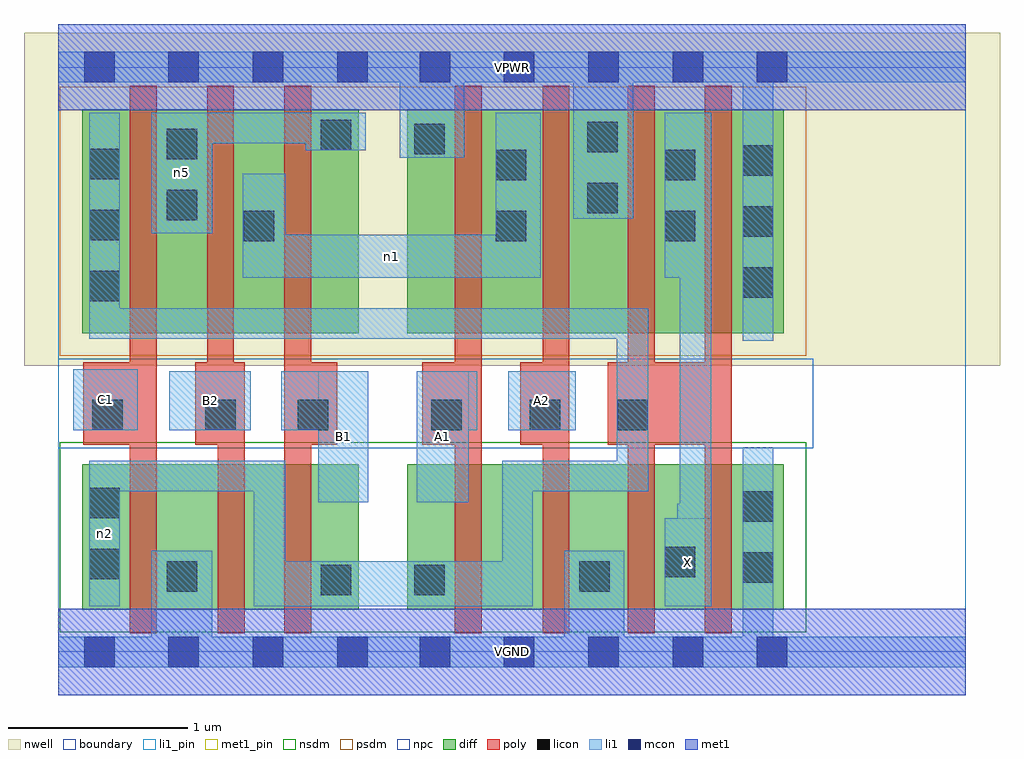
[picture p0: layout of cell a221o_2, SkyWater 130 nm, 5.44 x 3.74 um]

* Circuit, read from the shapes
.subckt a221o_2 A1 A2 B1 B2 C1 VGND VPWR X n1 n2 n5
XM1 VGND C1 n2 VSUBS sky130_fd_pr__nfet_01v8 w=0.81 l=0.15
XM2 n3 B2 VGND VSUBS sky130_fd_pr__nfet_01v8 w=0.81 l=0.15
XM3 n2 B1 n3 VSUBS sky130_fd_pr__nfet_01v8 w=0.81 l=0.15
XM4 n4 A1 n2 VSUBS sky130_fd_pr__nfet_01v8 w=0.81 l=0.15
XM5 VGND A2 n4 VSUBS sky130_fd_pr__nfet_01v8 w=0.81 l=0.15
XM6 X n2 VGND VSUBS sky130_fd_pr__nfet_01v8 w=0.81 l=0.15 m=2
XM7 n5 C1 n2 n6 sky130_fd_pr__pfet_01v8 w=1.25 l=0.15
XM8 n1 B2 n5 n6 sky130_fd_pr__pfet_01v8 w=1.25 l=0.15
XM9 n5 B1 n1 n6 sky130_fd_pr__pfet_01v8 w=1.25 l=0.15
XM10 n1 A1 VPWR n6 sky130_fd_pr__pfet_01v8 w=1.25 l=0.15
XM11 VPWR A2 n1 n6 sky130_fd_pr__pfet_01v8 w=1.25 l=0.15
XM12 X n2 VPWR n6 sky130_fd_pr__pfet_01v8 w=1.25 l=0.15 m=2
.ends

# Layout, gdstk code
import gdstk
lib = gdstk.Library(unit=1e-6, precision=1e-09)
def R(c, l, rs):  # rectangles x0, y0, x1, y1
    for r in rs: c.add(gdstk.rectangle(r[:2], r[2:], *l))
def A(c, l, x, y, w, h, nx, ny, dx, dy):  # array of equal rectangles
    R(c, l, [(x+i*dx, y+j*dy, x+i*dx+w, y+j*dy+h) for i in range(nx) for j in range(ny)])
nwell = (64, 20)
diff = (65, 20)
poly = (66, 20)
licon = (66, 44)
li1_pin = (67, 16)
li1 = (67, 20)
mcon = (67, 44)
met1_pin = (68, 16)
met1 = (68, 20)
nsdm = (93, 44)
psdm = (94, 20)
npc = (95, 20)
boundary = (235, 4)

a221o_2 = lib.new_cell('a221o_2')
R(a221o_2, nwell, [(-0.19,1.595,5.25,3.45), (0,1.595,5.06,3.45)])
R(a221o_2, diff, [(0.135,0.235,1.675,1.045), (1.945,0.235,4.045,1.045), (0.135,1.775,1.675,3.025), (1.945,1.775,4.045,3.025)])
R(a221o_2, poly, [(0.4,0.105,0.55,3.155), (0.89,0.105,1.04,1.615), (1.26,0.105,1.41,3.155), (2.21,0.105,2.36,3.155), (2.7,0.105,2.85,3.155), (3.175,0.105,3.325,3.155), (3.605,0.105,3.755,3.155), (0.14,1.155,0.55,1.615), (0.765,1.155,1.04,1.615), (0.83,1.155,0.98,3.155), (1.26,1.155,1.555,1.615), (2.03,1.155,2.36,1.615), (2.575,1.155,2.85,1.615), (3.065,1.155,3.755,1.615)])
A(a221o_2, licon, 0.175, 1.955, 0.17, 0.17, 1, 3, 0, 0.34)
A(a221o_2, licon, 3.815, 1.975, 0.17, 0.17, 1, 3, 0, 0.34)
R(a221o_2, licon, [(1.465,0.315,1.635,0.485), (1.985,0.315,2.155,0.485), (0.605,0.335,0.775,0.505), (2.905,0.335,3.075,0.505), (3.815,0.385,3.985,0.555), (0.175,0.405,0.345,0.575), (3.38,0.415,3.55,0.585), (3.815,0.725,3.985,0.895), (0.175,0.745,0.345,0.915), (0.19,1.235,0.36,1.405), (0.82,1.235,0.99,1.405), (1.335,1.235,1.505,1.405), (2.08,1.235,2.25,1.405), (2.63,1.235,2.8,1.405), (3.12,1.235,3.29,1.405), (1.035,2.29,1.205,2.46), (2.44,2.29,2.61,2.46), (3.38,2.29,3.55,2.46), (0.605,2.405,0.775,2.575), (2.95,2.445,3.12,2.615), (2.44,2.63,2.61,2.8), (3.38,2.63,3.55,2.8), (0.605,2.745,0.775,2.915), (1.985,2.775,2.155,2.945), (2.95,2.785,3.12,2.955), (1.465,2.795,1.635,2.965)])
R(a221o_2, li1_pin, [(3.38,0.255,3.64,0.745), (1.45,0.835,1.73,1.565), (2,0.835,2.29,1.565), (0.085,1.235,0.445,1.575), (0.62,1.235,1.075,1.565), (2.51,1.235,2.885,1.565)])
R(a221o_2, li1, [(0,-0.085,5.06,0.085), (0.52,-0.085,0.86,0.565), (2.82,-0.085,3.155,0.565), (3.815,-0.085,3.985,1.14), (0.175,0.255,0.345,1.065), (1.09,0.255,2.645,0.505), (1.09,0.255,1.265,1.065), (2.475,0.255,2.645,1.065), (3.38,0.255,3.64,0.745), (3.45,0.255,3.64,0.825), (3.465,0.255,3.64,3.005), (1.45,0.835,1.73,1.565), (2,0.835,2.29,1.565), (0.175,0.895,1.265,1.065), (2.475,0.895,3.29,1.065), (3.115,0.895,3.29,1.915), (0.085,1.235,0.445,1.575), (0.62,1.235,1.075,1.565), (1.245,1.235,1.73,1.565), (2,1.235,2.335,1.565), (2.51,1.235,2.885,1.565), (3.815,1.735,3.985,3.345), (0.175,1.745,3.29,1.915), (0.175,1.745,0.345,3.005), (1.03,2.085,2.69,2.325), (1.03,2.085,1.27,2.665), (2.44,2.085,2.69,3.005), (3.38,2.085,3.64,3.005), (0.52,2.335,0.86,3.005), (2.87,2.415,3.205,3.345), (1.905,2.755,2.265,3.345), (1.38,2.795,1.715,3.005), (0.52,2.835,1.715,3.005), (0,3.175,5.06,3.345)])
A(a221o_2, mcon, 0.145, -0.085, 0.17, 0.17, 4, 2, 0.47, 3.26)
A(a221o_2, mcon, 2.015, -0.085, 0.17, 0.17, 5, 2, 0.47, 3.26)
R(a221o_2, met1_pin, [(0,-0.24,5.06,0.24), (0,3.02,5.06,3.5)])
R(a221o_2, met1, [(0,-0.24,5.06,0.24), (0,3.02,5.06,3.5)])
R(a221o_2, nsdm, [(0.01,0.11,4.17,1.17)])
R(a221o_2, psdm, [(0.01,1.65,4.17,3.15)])
R(a221o_2, npc, [(0,1.135,4.21,1.635)])
R(a221o_2, boundary, [(0,0,5.06,3.26)])
a221o_2.add(gdstk.Label('A1', (2.145,1.2), layer=67, texttype=5))
a221o_2.add(gdstk.Label('A2', (2.697,1.4), layer=67, texttype=5))
a221o_2.add(gdstk.Label('B1', (1.59,1.2), layer=67, texttype=5))
a221o_2.add(gdstk.Label('B2', (0.847,1.4), layer=67, texttype=5))
a221o_2.add(gdstk.Label('C1', (0.265,1.405), layer=67, texttype=5))
a221o_2.add(gdstk.Label('X', (3.51,0.5), layer=67, texttype=5))
a221o_2.add(gdstk.Label('n2', (0.26,0.66), layer=67, texttype=5))
a221o_2.add(gdstk.Label('n5', (0.69,2.67), layer=67, texttype=5))
a221o_2.add(gdstk.Label('n1', (1.86,2.205), layer=67, texttype=5))
a221o_2.add(gdstk.Label('VPWR', (2.53,3.26), layer=68, texttype=5))
a221o_2.add(gdstk.Label('VGND', (2.53,0), layer=68, texttype=5))
a221o_2.add(gdstk.Label('A1', (2.145,1.2), layer=67, texttype=16))
a221o_2.add(gdstk.Label('A2', (2.697,1.4), layer=67, texttype=16))
a221o_2.add(gdstk.Label('B1', (1.59,1.2), layer=67, texttype=16))
a221o_2.add(gdstk.Label('B2', (0.847,1.4), layer=67, texttype=16))
a221o_2.add(gdstk.Label('C1', (0.265,1.405), layer=67, texttype=16))
a221o_2.add(gdstk.Label('X', (3.51,0.5), layer=67, texttype=16))
a221o_2.add(gdstk.Label('VPWR', (2.53,3.26), layer=68, texttype=16))
a221o_2.add(gdstk.Label('VGND', (2.53,0), layer=68, texttype=16))

lib.write_gds('a221o_2.gds')
